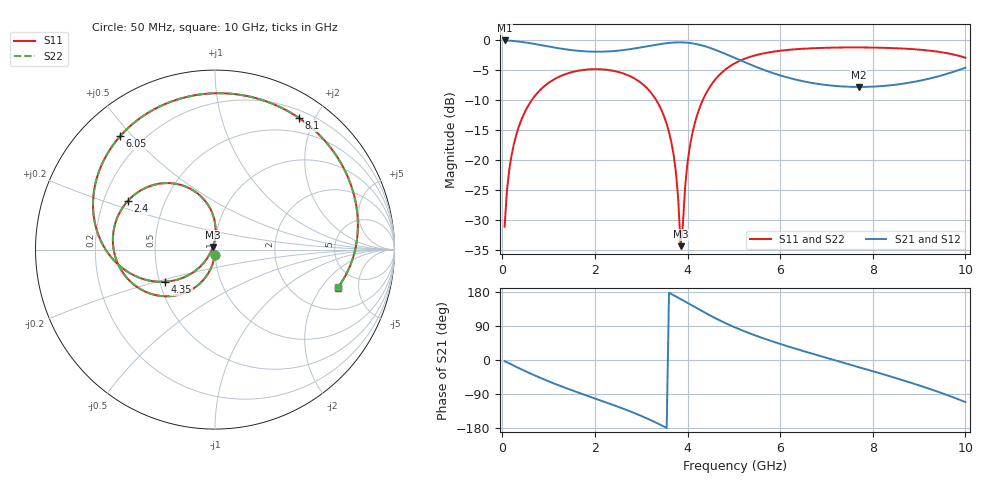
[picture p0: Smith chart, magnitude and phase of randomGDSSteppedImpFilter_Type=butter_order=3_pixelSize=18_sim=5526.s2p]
! freq	dB(S11)	phase(S11)	dB(S12)	phase(S12)
!  dB(S21)	phase(S21)	dB(S22)	phase(S22)
!S-par simulation data
#  GHz  S  DB  R 50
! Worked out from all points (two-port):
!   200 points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, 50 MHz to 10 GHz, reference 50 ohm
!   highest |S21| = -0.01 dB at 50 MHz (marker M1); lowest = -7.8 dB at 7.7 GHz (marker M2)
!   |S21| within 3 dB of the highest: start of sweep to 5.04 GHz
!   lowest |S11| = -34.4 dB at 3.85 GHz (marker M3), VSWR 1.04, Z = 48.8 + j1.45 ohm
!   |S11| at or under -10 dB: start of sweep to 636.7 MHz; 3.324 GHz to 4.33 GHz (1.005 GHz wide, 26.3 % of centre)
!   |S22| runs from -34.2 to -1.2 dB; largest |S21 - S12| = 0
!   S11 on the Smith chart (normalised r, x): 50 MHz: 1.00, -0.06; 2.4 GHz: 0.30, +0.24; 4.35 GHz: 0.54, -0.22; 6.05 GHz: 0.12, +0.46; 8.1 GHz: 0.30, +1.78; 10 GHz: 3.37, -2.93
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0.05  -31.17 -93.1  -0.01 -3.1  -0.01 -3.1  -31.17 -93.1
0.1  -25.17 -96.3  -0.02 -6.1  -0.02 -6.1  -25.17 -96.3
0.2  -19.25 -102.6  -0.07 -12.1  -0.07 -12.1  -19.25 -102.6
0.5  -11.78 -120.2  -0.34 -29.6  -0.34 -29.6  -11.78 -120.2
1.05  -6.83 -149.2  -1.09 -58.7  -1.09 -58.7  -6.83 -149.2
1.75  -4.94 178.9  -1.81 -90.7  -1.81 -90.7  -4.94 178.9
2.4  -5.09 150.9  -1.79 -118.8  -1.79 -118.8  -5.09 151.0
2.95  -6.84 125.4  -1.23 -144.9  -1.23 -144.9  -6.84 125.5
3.4  -11.05 101.8  -0.62 -170.0  -0.62 -170.0  -11.04 101.9
3.7  -19.17 87.9  -0.35 170.9  -0.35 170.9  -19.17 88.2
3.8  -26.66 93.0  -0.33 164.2  -0.33 164.2  -26.63 93.6
3.85  -34.43 128.6  -0.33 160.8  -0.33 160.8  -34.24 129.4
4.05  -17.76 -131.0  -0.43 147.0  -0.43 147.0  -17.76 -131.2
4.35  -9.65 -147.0  -0.92 126.5  -0.92 126.5  -9.64 -147.1
5.05  -3.70 173.2  -3.04 84.7  -3.04 84.7  -3.70 173.2
6.05  -1.68 129.9  -5.96 40.5  -5.96 40.5  -1.68 130.0
6.7  -1.31 106.3  -7.13 16.4  -7.13 16.4  -1.31 106.4
7.7  -1.17 71.6  -7.79 -18.8  -7.79 -18.8  -1.17 71.7
8.1  -1.21 57.6  -7.69 -33.1  -7.69 -33.1  -1.21 57.7
8.35  -1.26 48.7  -7.53 -42.2  -7.53 -42.2  -1.26 48.8
9.25  -1.73 14.8  -6.34 -77.1  -6.34 -77.1  -1.73 15.0
10  -2.90 -17.2  -4.56 -111.1  -4.56 -111.1  -2.90 -17.1
